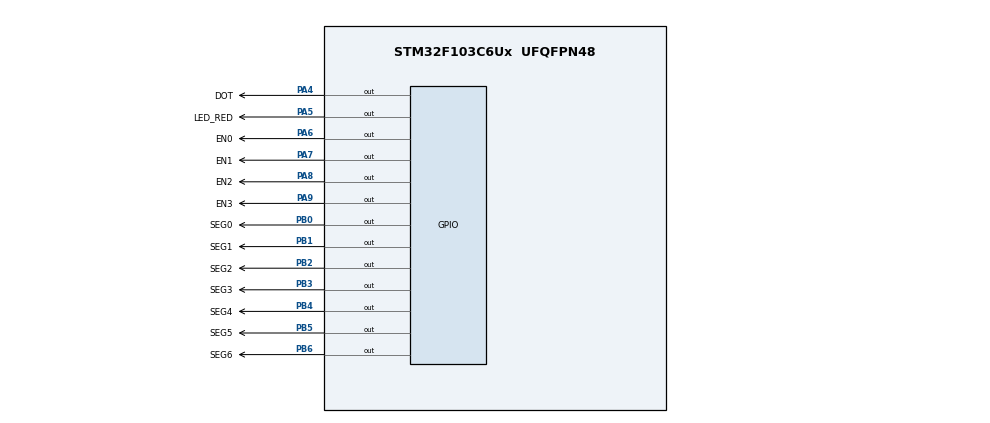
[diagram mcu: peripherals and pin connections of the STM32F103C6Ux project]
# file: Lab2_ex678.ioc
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Mcu.Family=STM32F1
Mcu.Name=STM32F103C6Ux
Mcu.Package=UFQFPN48
NVIC.PriorityGroup=NVIC_PRIORITYGROUP_4
NVIC.TIM2_IRQn=true\:0\:0\:false\:false\:true\:true\:true
PA4.GPIO_Label=DOT
PA4.Signal=GPIO_Output
PA5.GPIO_Label=LED_RED
PA5.Signal=GPIO_Output
PA6.GPIO_Label=EN0
PA6.Signal=GPIO_Output
PA7.GPIO_Label=EN1
PA7.Signal=GPIO_Output
PA8.GPIO_Label=EN2
PA8.Signal=GPIO_Output
PA9.GPIO_Label=EN3
PA9.Signal=GPIO_Output
PB0.GPIO_Label=SEG0
PB0.Signal=GPIO_Output
PB1.GPIO_Label=SEG1
PB1.Signal=GPIO_Output
PB2.GPIO_Label=SEG2
PB2.Signal=GPIO_Output
PB3.GPIO_Label=SEG3
PB3.Signal=GPIO_Output
PB4.GPIO_Label=SEG4
PB4.Signal=GPIO_Output
PB5.GPIO_Label=SEG5
PB5.Signal=GPIO_Output
PB6.GPIO_Label=SEG6
PB6.Signal=GPIO_Output
ProjectManager.HeapSize=0x200
ProjectManager.StackSize=0x400
ProjectManager.TargetToolchain=STM32CubeIDE
RCC.APB1Freq_Value=8000000
RCC.APB2Freq_Value=8000000
TIM2.Period=9
TIM2.Prescaler=7999
VP_SYS_VS_ND.Mode=No_Debug
VP_TIM2_VS_ClockSourceINT.Mode=Internal
board=custom

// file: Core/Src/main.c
/* USER CODE BEGIN Header */
/**
  ******************************************************************************
  * @file           : main.c
  * @brief          : Main program body
  ******************************************************************************
  * @attention
  *
  * <h2><center>&copy; Copyright (c) 2022 STMicroelectronics.
  * All rights reserved.</center></h2>
  *
  * This software component is licensed by ST under BSD 3-Clause license,
  * the "License"; You may not use this file except in compliance with the
  * License. You may obtain a copy of the License at:
  *                        opensource.org/licenses/BSD-3-Clause
  *
  ******************************************************************************
  */
/* USER CODE END Header */
#include "main.h"
#include "software_timer.h"

TIM_HandleTypeDef htim2;

void SystemClock_Config(void);
static void MX_GPIO_Init(void);
static void MX_TIM2_Init(void);

/* USER CODE BEGIN 0 */
void display7SEG(int num) {
	if (num==0) {
		HAL_GPIO_WritePin(SEG0_GPIO_Port, SEG0_Pin, RESET);
		HAL_GPIO_WritePin(SEG1_GPIO_Port, SEG1_Pin, RESET);
		HAL_GPIO_WritePin(SEG2_GPIO_Port, SEG2_Pin, RESET);
		HAL_GPIO_WritePin(SEG3_GPIO_Port, SEG3_Pin, RESET);
		HAL_GPIO_WritePin(SEG4_GPIO_Port, SEG4_Pin, RESET);
		HAL_GPIO_WritePin(SEG5_GPIO_Port, SEG5_Pin, RESET);
		HAL_GPIO_WritePin(SEG6_GPIO_Port, SEG6_Pin, SET);
	}
	if (num==1) {
		HAL_GPIO_WritePin(SEG0_GPIO_Port, SEG0_Pin, SET);
		HAL_GPIO_WritePin(SEG1_GPIO_Port, SEG1_Pin, RESET);
		HAL_GPIO_WritePin(SEG2_GPIO_Port, SEG2_Pin, RESET);
		HAL_GPIO_WritePin(SEG3_GPIO_Port, SEG3_Pin, SET);
		HAL_GPIO_WritePin(SEG4_GPIO_Port, SEG4_Pin, SET);
		HAL_GPIO_WritePin(SEG5_GPIO_Port, SEG5_Pin, SET);
		HAL_GPIO_WritePin(SEG6_GPIO_Port, SEG6_Pin, SET);
	}
	if (num==2) {
		HAL_GPIO_WritePin(SEG0_GPIO_Port, SEG0_Pin, RESET);
		HAL_GPIO_WritePin(SEG1_GPIO_Port, SEG1_Pin, RESET);
		HAL_GPIO_WritePin(SEG2_GPIO_Port, SEG2_Pin, SET);
		HAL_GPIO_WritePin(SEG3_GPIO_Port, SEG3_Pin, RESET);
		HAL_GPIO_WritePin(SEG4_GPIO_Port, SEG4_Pin, RESET);
		HAL_GPIO_WritePin(SEG5_GPIO_Port, SEG5_Pin, SET);
		HAL_GPIO_WritePin(SEG6_GPIO_Port, SEG6_Pin, RESET);
	}
	if (num==3) {
		HAL_GPIO_WritePin(SEG0_GPIO_Port, SEG0_Pin, RESET);
		HAL_GPIO_WritePin(SEG1_GPIO_Port, SEG1_Pin, RESET);
		HAL_GPIO_WritePin(SEG2_GPIO_Port, SEG2_Pin, RESET);
		HAL_GPIO_WritePin(SEG3_GPIO_Port, SEG3_Pin, RESET);
		HAL_GPIO_WritePin(SEG4_GPIO_Port, SEG4_Pin, SET);
		HAL_GPIO_WritePin(SEG5_GPIO_Port, SEG5_Pin, SET);
		HAL_GPIO_WritePin(SEG6_GPIO_Port, SEG6_Pin, RESET);
	}
	if (num==4) {
		HAL_GPIO_WritePin(SEG0_GPIO_Port, SEG0_Pin, SET);
		HAL_GPIO_WritePin(SEG1_GPIO_Port, SEG1_Pin, RESET);
		HAL_GPIO_WritePin(SEG2_GPIO_Port, SEG2_Pin, RESET);
		HAL_GPIO_WritePin(SEG3_GPIO_Port, SEG3_Pin, SET);
		HAL_GPIO_WritePin(SEG4_GPIO_Port, SEG4_Pin, SET);
		HAL_GPIO_WritePin(SEG5_GPIO_Port, SEG5_Pin, RESET);
		HAL_GPIO_WritePin(SEG6_GPIO_Port, SEG6_Pin, RESET);
	}
	if (num==5) {
		HAL_GPIO_WritePin(SEG0_GPIO_Port, SEG0_Pin, RESET);
		HAL_GPIO_WritePin(SEG1_GPIO_Port, SEG1_Pin, SET);
		HAL_GPIO_WritePin(SEG2_GPIO_Port, SEG2_Pin, RESET);
		HAL_GPIO_WritePin(SEG3_GPIO_Port, SEG3_Pin, RESET);
		HAL_GPIO_WritePin(SEG4_GPIO_Port, SEG4_Pin, SET);
		HAL_GPIO_WritePin(SEG5_GPIO_Port, SEG5_Pin, RESET);
		HAL_GPIO_WritePin(SEG6_GPIO_Port, SEG6_Pin, RESET);
	}
	if (num==6) {
		HAL_GPIO_WritePin(SEG0_GPIO_Port, SEG0_Pin, RESET);
		HAL_GPIO_WritePin(SEG1_GPIO_Port, SEG1_Pin, SET);
		HAL_GPIO_WritePin(SEG2_GPIO_Port, SEG2_Pin, RESET);
		HAL_GPIO_WritePin(SEG3_GPIO_Port, SEG3_Pin, RESET);
		HAL_GPIO_WritePin(SEG4_GPIO_Port, SEG4_Pin, RESET);
		HAL_GPIO_WritePin(SEG5_GPIO_Port, SEG5_Pin, RESET);
		HAL_GPIO_WritePin(SEG6_GPIO_Port, SEG6_Pin, RESET);
	}
	if (num==7) {
		HAL_GPIO_WritePin(SEG0_GPIO_Port, SEG0_Pin, RESET);
		HAL_GPIO_WritePin(SEG1_GPIO_Port, SEG1_Pin, RESET);
		HAL_GPIO_WritePin(SEG2_GPIO_Port, SEG2_Pin, RESET);
		HAL_GPIO_WritePin(SEG3_GPIO_Port, SEG3_Pin, SET);
		HAL_GPIO_WritePin(SEG4_GPIO_Port, SEG4_Pin, SET);
		HAL_GPIO_WritePin(SEG5_GPIO_Port, SEG5_Pin, SET);
		HAL_GPIO_WritePin(SEG6_GPIO_Port, SEG6_Pin, SET);
	}
	if (num==8) {
		HAL_GPIO_WritePin(SEG0_GPIO_Port, SEG0_Pin, RESET);
		HAL_GPIO_WritePin(SEG1_GPIO_Port, SEG1_Pin, RESET);
		HAL_GPIO_WritePin(SEG2_GPIO_Port, SEG2_Pin, RESET);
		HAL_GPIO_WritePin(SEG3_GPIO_Port, SEG3_Pin, RESET);
		HAL_GPIO_WritePin(SEG4_GPIO_Port, SEG4_Pin, RESET);
		HAL_GPIO_WritePin(SEG5_GPIO_Port, SEG5_Pin, RESET);
		HAL_GPIO_WritePin(SEG6_GPIO_Port, SEG6_Pin, RESET);
	}
	if (num==9) {
		HAL_GPIO_WritePin(SEG0_GPIO_Port, SEG0_Pin, RESET);
		HAL_GPIO_WritePin(SEG1_GPIO_Port, SEG1_Pin, RESET);
		HAL_GPIO_WritePin(SEG2_GPIO_Port, SEG2_Pin, RESET);
		HAL_GPIO_WritePin(SEG3_GPIO_Port, SEG3_Pin, RESET);
		HAL_GPIO_WritePin(SEG4_GPIO_Port, SEG4_Pin, SET);
		HAL_GPIO_WritePin(SEG5_GPIO_Port, SEG5_Pin, RESET);
		HAL_GPIO_WritePin(SEG6_GPIO_Port, SEG6_Pin, RESET);
	}
}
const int MAX_LED=4;
int index_led=0;
int led_buffer[4]={1,2,3,4};
int hour,minute,second;
void updateClockBuffer() {
	led_buffer[1]=hour%10;
	led_buffer[0]=hour/10;
	led_buffer[3]=minute%10;
	led_buffer[2]=minute/10;
}
void update7SEG(int index) {
	switch (index){
	case 0:
		HAL_GPIO_WritePin(EN0_GPIO_Port, EN0_Pin, RESET);
		HAL_GPIO_WritePin(EN1_GPIO_Port, EN1_Pin, SET);
		HAL_GPIO_WritePin(EN2_GPIO_Port, EN2_Pin, SET);
		HAL_GPIO_WritePin(EN3_GPIO_Port, EN3_Pin, SET);
		display7SEG(led_buffer[0]);
		break;
	case 1:
		HAL_GPIO_WritePin(EN0_GPIO_Port, EN0_Pin, SET);
		HAL_GPIO_WritePin(EN1_GPIO_Port, EN1_Pin, RESET);
		HAL_GPIO_WritePin(EN2_GPIO_Port, EN2_Pin, SET);
		HAL_GPIO_WritePin(EN3_GPIO_Port, EN3_Pin, SET);
		display7SEG(led_buffer[1]);
		break;
	case 2:
		HAL_GPIO_WritePin(EN0_GPIO_Port, EN0_Pin, SET);
		HAL_GPIO_WritePin(EN1_GPIO_Port, EN1_Pin, SET);
		HAL_GPIO_WritePin(EN2_GPIO_Port, EN2_Pin, SET);
		HAL_GPIO_WritePin(EN3_GPIO_Port, EN3_Pin, RESET);
		display7SEG(led_buffer[2]);
		break;
	case 3:
		HAL_GPIO_WritePin(EN0_GPIO_Port, EN0_Pin, SET);
		HAL_GPIO_WritePin(EN1_GPIO_Port, EN1_Pin, SET);
		HAL_GPIO_WritePin(EN2_GPIO_Port, EN2_Pin, RESET);
		HAL_GPIO_WritePin(EN3_GPIO_Port, EN3_Pin, SET);
		display7SEG(led_buffer[3]);
		break;
	default:
		break;
	}
}
void HAL_TIM_PeriodElapsedCallback(TIM_HandleTypeDef *htim) {
	timerRun();
}
/* USER CODE END 0 */

int main(void)
{

  /* MCU Configuration--------------------------------------------------------*/

  /* Reset of all peripherals, Initializes the Flash interface and the Systick. */
  HAL_Init();

  /* Configure the system clock */
  SystemClock_Config();

  /* Initialize all configured peripherals */
  MX_GPIO_Init();
  MX_TIM2_Init();
  /* USER CODE BEGIN 2 */
  HAL_TIM_Base_Start_IT(&htim2);
  /* USER CODE END 2 */

  /* Infinite loop */
  /* USER CODE BEGIN WHILE */
  hour=15;
  minute=8;
  second=50;
  setTimer1(100);
  setTimer2(100);
  setTimer3(25);
  setTimer4(100);
  while (1)
  {
	  if (timer1_flag==1) {
		  HAL_GPIO_TogglePin(LED_RED_GPIO_Port, LED_RED_Pin);
		  setTimer1(200);
	  }
	  if (timer2_flag==1) {
		  HAL_GPIO_TogglePin(DOT_GPIO_Port, DOT_Pin);
		  setTimer2(100);
	  }
	  if (timer3_flag==1) {
		  if (index_led>3) index_led=0;
		  update7SEG(index_led++);
		  setTimer3(25);
	  }
	  if (timer4_flag==1) {
		  second++;
		  if ( second >= 60) {
		   second = 0;
		   minute++;
		  }
		  if( minute >= 60) {
		   minute = 0;
		   hour++;
		  }
		  if( hour >=24) {
		   hour = 0;
		  }
		   updateClockBuffer();
		   setTimer4(100);
	  }
    /* USER CODE END WHILE */

  }
}

void SystemClock_Config(void)
{
  RCC_OscInitTypeDef RCC_OscInitStruct = {0};
  RCC_ClkInitTypeDef RCC_ClkInitStruct = {0};

  /** Initializes the RCC Oscillators according to the specified parameters
  * in the RCC_OscInitTypeDef structure.
  */
  RCC_OscInitStruct.OscillatorType = RCC_OSCILLATORTYPE_HSI;
  RCC_OscInitStruct.HSIState = RCC_HSI_ON;
  RCC_OscInitStruct.HSICalibrationValue = RCC_HSICALIBRATION_DEFAULT;
  RCC_OscInitStruct.PLL.PLLState = RCC_PLL_NONE;
  if (HAL_RCC_OscConfig(&RCC_OscInitStruct) != HAL_OK)
  {
    Error_Handler();
  }
  /** Initializes the CPU, AHB and APB buses clocks
  */
  RCC_ClkInitStruct.ClockType = RCC_CLOCKTYPE_HCLK|RCC_CLOCKTYPE_SYSCLK
                              |RCC_CLOCKTYPE_PCLK1|RCC_CLOCKTYPE_PCLK2;
  RCC_ClkInitStruct.SYSCLKSource = RCC_SYSCLKSOURCE_HSI;
  RCC_ClkInitStruct.AHBCLKDivider = RCC_SYSCLK_DIV1;
  RCC_ClkInitStruct.APB1CLKDivider = RCC_HCLK_DIV1;
  RCC_ClkInitStruct.APB2CLKDivider = RCC_HCLK_DIV1;

  if (HAL_RCC_ClockConfig(&RCC_ClkInitStruct, FLASH_LATENCY_0) != HAL_OK)
  {
    Error_Handler();
  }
}

static void MX_TIM2_Init(void)
{

  TIM_ClockConfigTypeDef sClockSourceConfig = {0};
  TIM_MasterConfigTypeDef sMasterConfig = {0};

  htim2.Instance = TIM2;
  htim2.Init.Prescaler = 7999;
  htim2.Init.CounterMode = TIM_COUNTERMODE_UP;
  htim2.Init.Period = 9;
  htim2.Init.ClockDivision = TIM_CLOCKDIVISION_DIV1;
  htim2.Init.AutoReloadPreload = TIM_AUTORELOAD_PRELOAD_DISABLE;
  if (HAL_TIM_Base_Init(&htim2) != HAL_OK)
  {
    Error_Handler();
  }
  sClockSourceConfig.ClockSource = TIM_CLOCKSOURCE_INTERNAL;
  if (HAL_TIM_ConfigClockSource(&htim2, &sClockSourceConfig) != HAL_OK)
  {
    Error_Handler();
  }
  sMasterConfig.MasterOutputTrigger = TIM_TRGO_RESET;
  sMasterConfig.MasterSlaveMode = TIM_MASTERSLAVEMODE_DISABLE;
  if (HAL_TIMEx_MasterConfigSynchronization(&htim2, &sMasterConfig) != HAL_OK)
  {
    Error_Handler();
  }

}

static void MX_GPIO_Init(void)
{
  GPIO_InitTypeDef GPIO_InitStruct = {0};

  /* GPIO Ports Clock Enable */
  __HAL_RCC_GPIOA_CLK_ENABLE();
  __HAL_RCC_GPIOB_CLK_ENABLE();

  /*Configure GPIO pin Output Level */
  HAL_GPIO_WritePin(GPIOA, DOT_Pin|LED_RED_Pin|EN0_Pin|EN1_Pin
                          |EN2_Pin|EN3_Pin, GPIO_PIN_RESET);

  /*Configure GPIO pin Output Level */
  HAL_GPIO_WritePin(GPIOB, SEG0_Pin|SEG1_Pin|SEG2_Pin|SEG3_Pin
                          |SEG4_Pin|SEG5_Pin|SEG6_Pin, GPIO_PIN_RESET);

  /*Configure GPIO pins : DOT_Pin LED_RED_Pin EN0_Pin EN1_Pin
                           EN2_Pin EN3_Pin */
  GPIO_InitStruct.Pin = DOT_Pin|LED_RED_Pin|EN0_Pin|EN1_Pin
                          |EN2_Pin|EN3_Pin;
  GPIO_InitStruct.Mode = GPIO_MODE_OUTPUT_PP;
  GPIO_InitStruct.Pull = GPIO_NOPULL;
  GPIO_InitStruct.Speed = GPIO_SPEED_FREQ_LOW;
  HAL_GPIO_Init(GPIOA, &GPIO_InitStruct);

  /*Configure GPIO pins : SEG0_Pin SEG1_Pin SEG2_Pin SEG3_Pin
                           SEG4_Pin SEG5_Pin SEG6_Pin */
  GPIO_InitStruct.Pin = SEG0_Pin|SEG1_Pin|SEG2_Pin|SEG3_Pin
                          |SEG4_Pin|SEG5_Pin|SEG6_Pin;
  GPIO_InitStruct.Mode = GPIO_MODE_OUTPUT_PP;
  GPIO_InitStruct.Pull = GPIO_NOPULL;
  GPIO_InitStruct.Speed = GPIO_SPEED_FREQ_LOW;
  HAL_GPIO_Init(GPIOB, &GPIO_InitStruct);

}

void Error_Handler(void)
{
  __disable_irq();
  while (1)
  {
  }
}

/************************ (C) COPYRIGHT STMicroelectronics *****END OF FILE****/
